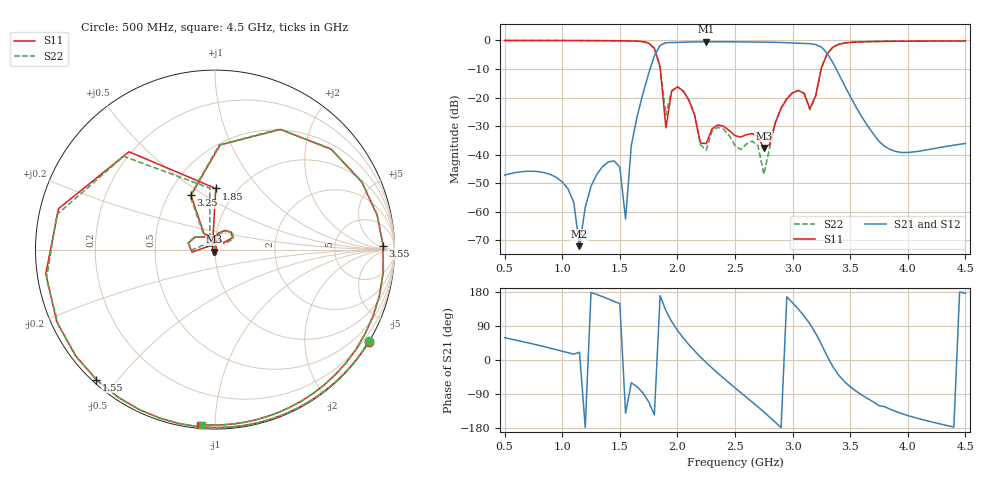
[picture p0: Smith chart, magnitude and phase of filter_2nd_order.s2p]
! 2-port S-parameter data
! S-port 1 net1
! S-port 2 net2
# GHz S DB R 50
!freq dBS11 angS11 dBS21 angS21 dBS12 angS12 dBS22 angS22
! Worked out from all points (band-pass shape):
!   81 points, 500 MHz to 4.5 GHz, reference 50 ohm
!   highest |S21| = -0.49 dB at 2.25 GHz (marker M1); lowest = -72.0 dB at 1.15 GHz (marker M2)
!   |S21| within 3 dB of the highest: 1.826 GHz to 3.277 GHz (1.451 GHz wide, 56.9 % of centre)
!   lowest |S11| = -37.7 dB at 2.75 GHz (marker M3), VSWR 1.03, Z = 49.4 - j1.15 ohm
!   |S11| at or under -10 dB: 1.852 GHz to 3.248 GHz (1.396 GHz wide, 54.8 % of centre)
!   |S22| runs from -46.9 to 0.0 dB; largest |S21 - S12| = 1.6e-14
!   S11 on the Smith chart (normalised r, x): 500 MHz: 0.01, -3.60; 1.55 GHz: 0.01, -0.44; 1.85 GHz: 0.80, +0.62; 3.25 GHz: 0.65, +0.44; 3.55 GHz: 27, +9; 4.5 GHz: 0.02, -0.92
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0.5  -0.01 -31.0  -47.15 58.9  -47.15 58.9  -0.01 -30.8
1  -0.04 -67.1  -49.51 23.2  -49.51 23.2  -0.04 -66.6
1.15  -0.06 -80.4  -72.03 20.3  -72.03 20.3  -0.06 -79.8
1.2  -0.06 -85.3  -58.46 -178.2  -58.46 -178.2  -0.06 -84.7
1.45  -0.12 -115.5  -42.15 154.7  -42.15 154.7  -0.12 -114.6
1.5  -0.14 -123.4  -44.33 149.0  -44.33 149.0  -0.14 -122.4
1.55  -0.17 -132.4  -62.55 -140.3  -62.55 -140.3  -0.17 -131.3
1.6  -0.21 -142.9  -36.77 -60.0  -36.77 -60.0  -0.20 -141.6
1.75  -0.90 165.3  -11.64 -109.8  -11.64 -109.8  -0.90 167.5
1.85  -9.36 89.3  -1.72 169.7  -1.72 169.7  -9.27 94.9
1.9  -30.60 117.0  -0.82 130.3  -0.82 130.3  -26.13 125.9
2  -16.28 166.7  -0.69 78.5  -0.69 78.5  -16.17 165.0
2.25  -36.13 -50.0  -0.49 -6.9  -0.49 -6.9  -38.44 -64.5
2.5  -33.35 -92.5  -0.51 -73.4  -0.51 -73.4  -36.81 -103.0
2.75  -37.69 -116.5  -0.60 -137.1  -0.60 -137.1  -46.90 -79.6
2.95  -20.46 77.8  -0.80 166.7  -0.80 166.7  -20.32 72.0
3.2  -19.36 124.6  -1.44 70.8  -1.44 70.8  -19.73 127.5
3.25  -9.60 113.9  -2.35 41.5  -2.35 41.5  -9.65 114.9
3.35  -2.36 61.5  -7.80 -17.8  -7.80 -17.8  -2.36 61.8
3.55  -0.57 1.3  -23.25 -82.1  -23.25 -82.1  -0.56 1.5
3.85  -0.31 -41.0  -38.24 -130.2  -38.24 -130.2  -0.30 -40.7
4.5  -0.19 -94.7  -36.08 176.3  -36.08 176.3  -0.19 -94.4
